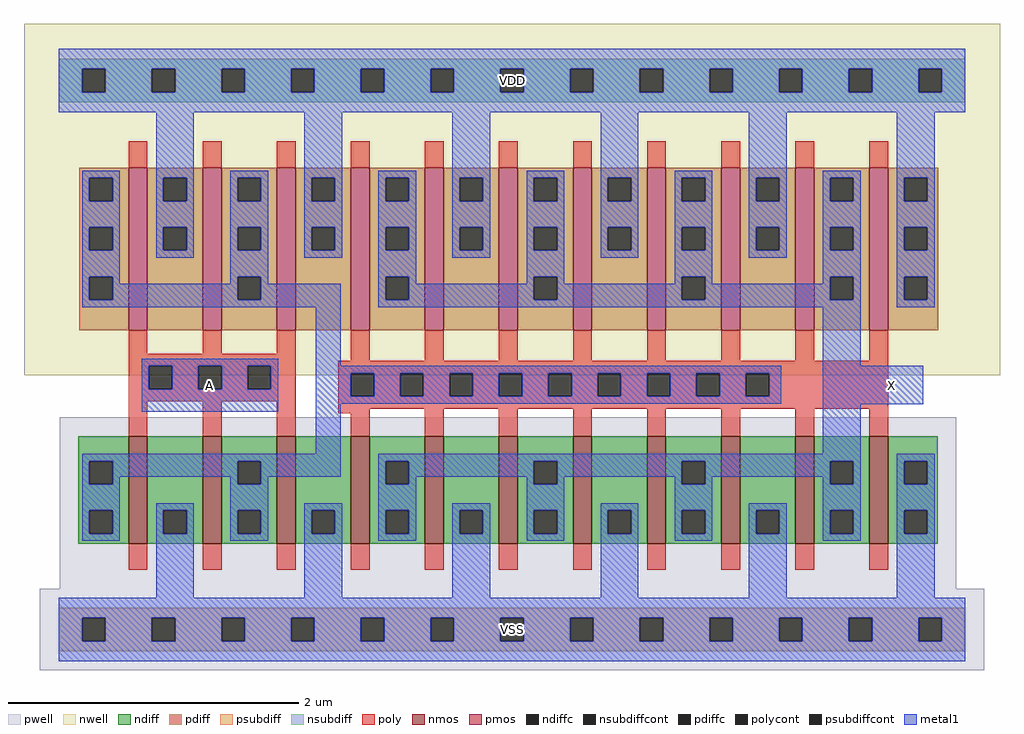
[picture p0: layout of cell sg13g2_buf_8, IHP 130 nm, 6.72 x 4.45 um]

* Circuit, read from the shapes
.subckt sg13g2_buf_8 X VDD A VSS
XM1 VSS A n1 VSS sg13_lv_nmos w=0.74u l=0.13u m=3
XM2 X n1 VSS VSS sg13_lv_nmos w=0.74u l=0.13u m=8
XM3 VDD A n1 VDD sg13_lv_pmos w=1.12u l=0.13u m=3
XM4 X n1 VDD VDD sg13_lv_pmos w=1.12u l=0.13u m=8
.ends

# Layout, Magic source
magic
tech ihp-sg13g2
magscale 1 2
<< nwell >>
rect -48 350 1296 834
<< pwell >>
rect 1 56 1236 292
rect -26 -56 1274 56
<< nmos >>
rect 96 118 122 266
rect 198 118 224 266
rect 300 118 326 266
rect 402 118 428 266
rect 504 118 530 266
rect 606 118 632 266
rect 708 118 734 266
rect 810 118 836 266
rect 912 118 938 266
rect 1014 118 1040 266
rect 1116 118 1142 266
<< pmos >>
rect 96 412 122 636
rect 198 412 224 636
rect 300 412 326 636
rect 402 412 428 636
rect 504 412 530 636
rect 606 412 632 636
rect 708 412 734 636
rect 810 412 836 636
rect 912 412 938 636
rect 1014 412 1040 636
rect 1116 412 1142 636
<< ndiff >>
rect 27 232 96 266
rect 27 200 42 232
rect 74 200 96 232
rect 27 164 96 200
rect 27 132 42 164
rect 74 132 96 164
rect 27 118 96 132
rect 122 164 198 266
rect 122 132 144 164
rect 176 132 198 164
rect 122 118 198 132
rect 224 232 300 266
rect 224 200 246 232
rect 278 200 300 232
rect 224 164 300 200
rect 224 132 246 164
rect 278 132 300 164
rect 224 118 300 132
rect 326 164 402 266
rect 326 132 348 164
rect 380 132 402 164
rect 326 118 402 132
rect 428 232 504 266
rect 428 200 450 232
rect 482 200 504 232
rect 428 164 504 200
rect 428 132 450 164
rect 482 132 504 164
rect 428 118 504 132
rect 530 164 606 266
rect 530 132 552 164
rect 584 132 606 164
rect 530 118 606 132
rect 632 232 708 266
rect 632 200 654 232
rect 686 200 708 232
rect 632 164 708 200
rect 632 132 654 164
rect 686 132 708 164
rect 632 118 708 132
rect 734 164 810 266
rect 734 132 756 164
rect 788 132 810 164
rect 734 118 810 132
rect 836 232 912 266
rect 836 200 858 232
rect 890 200 912 232
rect 836 164 912 200
rect 836 132 858 164
rect 890 132 912 164
rect 836 118 912 132
rect 938 164 1014 266
rect 938 132 960 164
rect 992 132 1014 164
rect 938 118 1014 132
rect 1040 232 1116 266
rect 1040 200 1062 232
rect 1094 200 1116 232
rect 1040 164 1116 200
rect 1040 132 1062 164
rect 1094 132 1116 164
rect 1040 118 1116 132
rect 1142 232 1210 266
rect 1142 200 1164 232
rect 1196 200 1210 232
rect 1142 164 1210 200
rect 1142 132 1164 164
rect 1196 132 1210 164
rect 1142 118 1210 132
<< pdiff >>
rect 28 622 96 636
rect 28 590 42 622
rect 74 590 96 622
rect 28 554 96 590
rect 28 522 42 554
rect 74 522 96 554
rect 28 486 96 522
rect 28 454 42 486
rect 74 454 96 486
rect 28 412 96 454
rect 122 622 198 636
rect 122 590 144 622
rect 176 590 198 622
rect 122 554 198 590
rect 122 522 144 554
rect 176 522 198 554
rect 122 412 198 522
rect 224 622 300 636
rect 224 590 246 622
rect 278 590 300 622
rect 224 554 300 590
rect 224 522 246 554
rect 278 522 300 554
rect 224 486 300 522
rect 224 454 246 486
rect 278 454 300 486
rect 224 412 300 454
rect 326 622 402 636
rect 326 590 348 622
rect 380 590 402 622
rect 326 554 402 590
rect 326 522 348 554
rect 380 522 402 554
rect 326 412 402 522
rect 428 622 504 636
rect 428 590 450 622
rect 482 590 504 622
rect 428 554 504 590
rect 428 522 450 554
rect 482 522 504 554
rect 428 486 504 522
rect 428 454 450 486
rect 482 454 504 486
rect 428 412 504 454
rect 530 622 606 636
rect 530 590 552 622
rect 584 590 606 622
rect 530 554 606 590
rect 530 522 552 554
rect 584 522 606 554
rect 530 412 606 522
rect 632 622 708 636
rect 632 590 654 622
rect 686 590 708 622
rect 632 554 708 590
rect 632 522 654 554
rect 686 522 708 554
rect 632 486 708 522
rect 632 454 654 486
rect 686 454 708 486
rect 632 412 708 454
rect 734 622 810 636
rect 734 590 756 622
rect 788 590 810 622
rect 734 554 810 590
rect 734 522 756 554
rect 788 522 810 554
rect 734 412 810 522
rect 836 622 912 636
rect 836 590 858 622
rect 890 590 912 622
rect 836 554 912 590
rect 836 522 858 554
rect 890 522 912 554
rect 836 486 912 522
rect 836 454 858 486
rect 890 454 912 486
rect 836 412 912 454
rect 938 622 1014 636
rect 938 590 960 622
rect 992 590 1014 622
rect 938 554 1014 590
rect 938 522 960 554
rect 992 522 1014 554
rect 938 412 1014 522
rect 1040 622 1116 636
rect 1040 590 1062 622
rect 1094 590 1116 622
rect 1040 554 1116 590
rect 1040 522 1062 554
rect 1094 522 1116 554
rect 1040 486 1116 522
rect 1040 454 1062 486
rect 1094 454 1116 486
rect 1040 412 1116 454
rect 1142 622 1211 636
rect 1142 590 1164 622
rect 1196 590 1211 622
rect 1142 554 1211 590
rect 1142 522 1164 554
rect 1196 522 1211 554
rect 1142 486 1211 522
rect 1142 454 1164 486
rect 1196 454 1211 486
rect 1142 412 1211 454
<< ndiffc >>
rect 42 200 74 232
rect 42 132 74 164
rect 144 132 176 164
rect 246 200 278 232
rect 246 132 278 164
rect 348 132 380 164
rect 450 200 482 232
rect 450 132 482 164
rect 552 132 584 164
rect 654 200 686 232
rect 654 132 686 164
rect 756 132 788 164
rect 858 200 890 232
rect 858 132 890 164
rect 960 132 992 164
rect 1062 200 1094 232
rect 1062 132 1094 164
rect 1164 200 1196 232
rect 1164 132 1196 164
<< pdiffc >>
rect 42 590 74 622
rect 42 522 74 554
rect 42 454 74 486
rect 144 590 176 622
rect 144 522 176 554
rect 246 590 278 622
rect 246 522 278 554
rect 246 454 278 486
rect 348 590 380 622
rect 348 522 380 554
rect 450 590 482 622
rect 450 522 482 554
rect 450 454 482 486
rect 552 590 584 622
rect 552 522 584 554
rect 654 590 686 622
rect 654 522 686 554
rect 654 454 686 486
rect 756 590 788 622
rect 756 522 788 554
rect 858 590 890 622
rect 858 522 890 554
rect 858 454 890 486
rect 960 590 992 622
rect 960 522 992 554
rect 1062 590 1094 622
rect 1062 522 1094 554
rect 1062 454 1094 486
rect 1164 590 1196 622
rect 1164 522 1196 554
rect 1164 454 1196 486
<< psubdiff >>
rect 0 16 1248 30
rect 0 -16 32 16
rect 64 -16 128 16
rect 160 -16 224 16
rect 256 -16 320 16
rect 352 -16 416 16
rect 448 -16 512 16
rect 544 -16 608 16
rect 640 -16 704 16
rect 736 -16 800 16
rect 832 -16 896 16
rect 928 -16 992 16
rect 1024 -16 1088 16
rect 1120 -16 1184 16
rect 1216 -16 1248 16
rect 0 -30 1248 -16
<< nsubdiff >>
rect 0 772 1248 786
rect 0 740 32 772
rect 64 740 128 772
rect 160 740 224 772
rect 256 740 320 772
rect 352 740 416 772
rect 448 740 512 772
rect 544 740 608 772
rect 640 740 704 772
rect 736 740 800 772
rect 832 740 896 772
rect 928 740 992 772
rect 1024 740 1088 772
rect 1120 740 1184 772
rect 1216 740 1248 772
rect 0 726 1248 740
<< psubdiffcont >>
rect 32 -16 64 16
rect 128 -16 160 16
rect 224 -16 256 16
rect 320 -16 352 16
rect 416 -16 448 16
rect 512 -16 544 16
rect 608 -16 640 16
rect 704 -16 736 16
rect 800 -16 832 16
rect 896 -16 928 16
rect 992 -16 1024 16
rect 1088 -16 1120 16
rect 1184 -16 1216 16
<< nsubdiffcont >>
rect 32 740 64 772
rect 128 740 160 772
rect 224 740 256 772
rect 320 740 352 772
rect 416 740 448 772
rect 512 740 544 772
rect 608 740 640 772
rect 704 740 736 772
rect 800 740 832 772
rect 896 740 928 772
rect 992 740 1024 772
rect 1088 740 1120 772
rect 1184 740 1216 772
<< poly >>
rect 96 636 122 672
rect 198 636 224 672
rect 300 636 326 672
rect 402 636 428 672
rect 504 636 530 672
rect 606 636 632 672
rect 708 636 734 672
rect 810 636 836 672
rect 912 636 938 672
rect 1014 636 1040 672
rect 1116 636 1142 672
rect 96 380 122 412
rect 198 380 224 412
rect 300 380 326 412
rect 96 363 326 380
rect 402 370 428 412
rect 504 370 530 412
rect 606 370 632 412
rect 708 370 734 412
rect 810 370 836 412
rect 912 370 938 412
rect 1014 370 1040 412
rect 1116 370 1142 412
rect 96 331 124 363
rect 156 331 192 363
rect 224 331 260 363
rect 292 331 326 363
rect 96 314 326 331
rect 96 266 122 314
rect 198 266 224 314
rect 300 266 326 314
rect 385 353 1142 370
rect 385 321 402 353
rect 434 321 470 353
rect 502 321 538 353
rect 570 321 606 353
rect 638 321 674 353
rect 706 321 742 353
rect 774 321 810 353
rect 842 321 878 353
rect 910 321 946 353
rect 978 321 1142 353
rect 385 304 1142 321
rect 385 298 428 304
rect 402 266 428 298
rect 504 266 530 304
rect 606 266 632 304
rect 708 266 734 304
rect 810 266 836 304
rect 912 266 938 304
rect 1014 266 1040 304
rect 1116 266 1142 304
rect 96 82 122 118
rect 198 82 224 118
rect 300 82 326 118
rect 402 82 428 118
rect 504 82 530 118
rect 606 82 632 118
rect 708 82 734 118
rect 810 82 836 118
rect 912 82 938 118
rect 1014 82 1040 118
rect 1116 82 1142 118
<< polycont >>
rect 124 331 156 363
rect 192 331 224 363
rect 260 331 292 363
rect 402 321 434 353
rect 470 321 502 353
rect 538 321 570 353
rect 606 321 638 353
rect 674 321 706 353
rect 742 321 774 353
rect 810 321 842 353
rect 878 321 910 353
rect 946 321 978 353
<< metal1 >>
rect 0 772 1248 800
rect 0 740 32 772
rect 64 740 128 772
rect 160 740 224 772
rect 256 740 320 772
rect 352 740 416 772
rect 448 740 512 772
rect 544 740 608 772
rect 640 740 704 772
rect 736 740 800 772
rect 832 740 896 772
rect 928 740 992 772
rect 1024 740 1088 772
rect 1120 740 1184 772
rect 1216 740 1248 772
rect 0 712 1248 740
rect 32 622 84 632
rect 32 590 42 622
rect 74 590 84 622
rect 32 554 84 590
rect 32 522 42 554
rect 74 522 84 554
rect 32 486 84 522
rect 134 622 186 712
rect 134 590 144 622
rect 176 590 186 622
rect 134 554 186 590
rect 134 522 144 554
rect 176 522 186 554
rect 134 512 186 522
rect 236 622 288 632
rect 236 590 246 622
rect 278 590 288 622
rect 236 554 288 590
rect 236 522 246 554
rect 278 522 288 554
rect 32 454 42 486
rect 74 476 84 486
rect 236 486 288 522
rect 338 622 390 712
rect 338 590 348 622
rect 380 590 390 622
rect 338 554 390 590
rect 338 522 348 554
rect 380 522 390 554
rect 338 512 390 522
rect 440 622 492 632
rect 440 590 450 622
rect 482 590 492 622
rect 440 554 492 590
rect 440 522 450 554
rect 482 522 492 554
rect 236 476 246 486
rect 74 454 246 476
rect 278 476 288 486
rect 440 486 492 522
rect 542 622 594 712
rect 542 590 552 622
rect 584 590 594 622
rect 542 554 594 590
rect 542 522 552 554
rect 584 522 594 554
rect 542 512 594 522
rect 644 622 696 632
rect 644 590 654 622
rect 686 590 696 622
rect 644 554 696 590
rect 644 522 654 554
rect 686 522 696 554
rect 278 454 388 476
rect 32 444 388 454
rect 440 454 450 486
rect 482 476 492 486
rect 644 486 696 522
rect 746 622 798 712
rect 746 590 756 622
rect 788 590 798 622
rect 746 554 798 590
rect 746 522 756 554
rect 788 522 798 554
rect 746 512 798 522
rect 848 622 900 632
rect 848 590 858 622
rect 890 590 900 622
rect 848 554 900 590
rect 848 522 858 554
rect 890 522 900 554
rect 644 476 654 486
rect 482 454 654 476
rect 686 476 696 486
rect 848 486 900 522
rect 950 622 1002 712
rect 950 590 960 622
rect 992 590 1002 622
rect 950 554 1002 590
rect 950 522 960 554
rect 992 522 1002 554
rect 950 512 1002 522
rect 1052 622 1104 632
rect 1052 590 1062 622
rect 1094 590 1104 622
rect 1052 554 1104 590
rect 1052 522 1062 554
rect 1094 522 1104 554
rect 848 476 858 486
rect 686 454 858 476
rect 890 476 900 486
rect 1052 486 1104 522
rect 1052 476 1062 486
rect 890 454 1062 476
rect 1094 454 1104 486
rect 440 444 1104 454
rect 1154 622 1206 712
rect 1154 590 1164 622
rect 1196 590 1206 622
rect 1154 554 1206 590
rect 1154 522 1164 554
rect 1196 522 1206 554
rect 1154 486 1206 522
rect 1154 454 1164 486
rect 1196 454 1206 486
rect 1154 444 1206 454
rect 114 363 302 373
rect 114 331 124 363
rect 156 331 192 363
rect 224 331 260 363
rect 292 331 302 363
rect 114 300 302 331
rect 354 363 388 444
rect 1052 363 1104 444
rect 354 353 995 363
rect 354 321 402 353
rect 434 321 470 353
rect 502 321 538 353
rect 570 321 606 353
rect 638 321 674 353
rect 706 321 742 353
rect 774 321 810 353
rect 842 321 878 353
rect 910 321 946 353
rect 978 321 995 353
rect 354 311 995 321
rect 354 242 388 311
rect 1052 310 1190 363
rect 1052 242 1104 310
rect 32 232 388 242
rect 32 200 42 232
rect 74 210 246 232
rect 74 200 84 210
rect 32 164 84 200
rect 236 200 246 210
rect 278 210 388 232
rect 440 232 1104 242
rect 278 200 288 210
rect 32 132 42 164
rect 74 132 84 164
rect 32 122 84 132
rect 134 164 186 174
rect 134 132 144 164
rect 176 132 186 164
rect 134 44 186 132
rect 236 164 288 200
rect 440 200 450 232
rect 482 210 654 232
rect 482 200 492 210
rect 236 132 246 164
rect 278 132 288 164
rect 236 122 288 132
rect 338 164 390 174
rect 338 132 348 164
rect 380 132 390 164
rect 338 44 390 132
rect 440 164 492 200
rect 644 200 654 210
rect 686 210 858 232
rect 686 200 696 210
rect 440 132 450 164
rect 482 132 492 164
rect 440 122 492 132
rect 542 164 594 174
rect 542 132 552 164
rect 584 132 594 164
rect 542 44 594 132
rect 644 164 696 200
rect 848 200 858 210
rect 890 210 1062 232
rect 890 200 900 210
rect 644 132 654 164
rect 686 132 696 164
rect 644 122 696 132
rect 746 164 798 174
rect 746 132 756 164
rect 788 132 798 164
rect 746 44 798 132
rect 848 164 900 200
rect 1052 200 1062 210
rect 1094 200 1104 232
rect 848 132 858 164
rect 890 132 900 164
rect 848 122 900 132
rect 950 164 1002 174
rect 950 132 960 164
rect 992 132 1002 164
rect 950 44 1002 132
rect 1052 164 1104 200
rect 1052 132 1062 164
rect 1094 132 1104 164
rect 1052 122 1104 132
rect 1154 232 1206 242
rect 1154 200 1164 232
rect 1196 200 1206 232
rect 1154 164 1206 200
rect 1154 132 1164 164
rect 1196 132 1206 164
rect 1154 44 1206 132
rect 0 16 1248 44
rect 0 -16 32 16
rect 64 -16 128 16
rect 160 -16 224 16
rect 256 -16 320 16
rect 352 -16 416 16
rect 448 -16 512 16
rect 544 -16 608 16
rect 640 -16 704 16
rect 736 -16 800 16
rect 832 -16 896 16
rect 928 -16 992 16
rect 1024 -16 1088 16
rect 1120 -16 1184 16
rect 1216 -16 1248 16
rect 0 -44 1248 -16
<< labels >>
flabel metal1 s 1104 310 1190 363 0 FreeSans 400 0 0 0 X
port 2 nsew
flabel metal1 s 0 712 1248 800 0 FreeSans 400 0 0 0 VDD
port 3 nsew
flabel metal1 s 114 300 302 373 0 FreeSans 400 0 0 0 A
port 4 nsew
flabel metal1 s 0 -44 1248 44 0 FreeSans 400 0 0 0 VSS
port 5 nsew
<< properties >>
string FIXED_BBOX 0 0 1248 756
string GDS_END 121754
string GDS_FILE 6_final.gds
string GDS_START 111554
<< end >>
